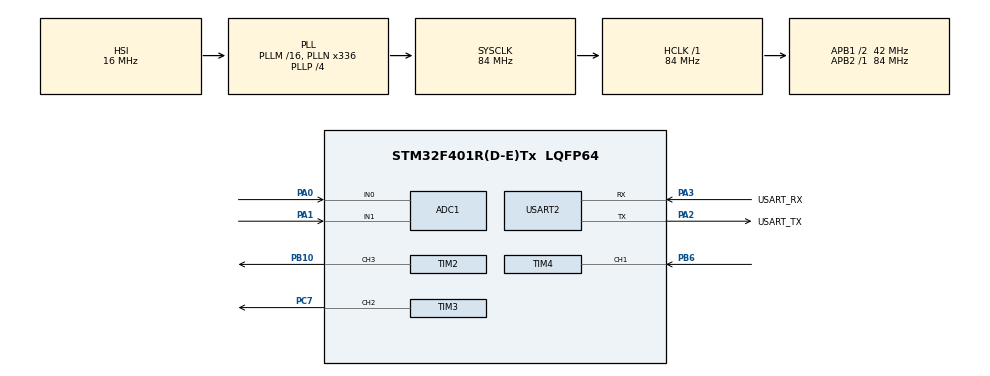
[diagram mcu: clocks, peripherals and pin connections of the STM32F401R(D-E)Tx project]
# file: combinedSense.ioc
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ADC1.Channel-0\#ChannelRegularConversion=ADC_CHANNEL_0
ADC1.Channel-3\#ChannelRegularConversion=ADC_CHANNEL_1
ADC1.ContinuousConvMode=ENABLE
ADC1.DiscontinuousConvMode=DISABLE
ADC1.EOCSelection=ADC_EOC_SINGLE_CONV
ADC1.NbrOfConversion=2
ADC1.NbrOfConversionFlag=1
ADC1.Rank-0\#ChannelRegularConversion=1
ADC1.Rank-3\#ChannelRegularConversion=2
ADC1.SamplingTime-0\#ChannelRegularConversion=ADC_SAMPLETIME_3CYCLES
ADC1.SamplingTime-3\#ChannelRegularConversion=ADC_SAMPLETIME_3CYCLES
ADC1.master=1
Dma.ADC1.0.Direction=DMA_PERIPH_TO_MEMORY
Dma.ADC1.0.FIFOMode=DMA_FIFOMODE_DISABLE
Dma.ADC1.0.Instance=DMA2_Stream0
Dma.ADC1.0.MemDataAlignment=DMA_MDATAALIGN_WORD
Dma.ADC1.0.MemInc=DMA_MINC_ENABLE
Dma.ADC1.0.Mode=DMA_CIRCULAR
Dma.ADC1.0.PeriphDataAlignment=DMA_PDATAALIGN_WORD
Dma.ADC1.0.PeriphInc=DMA_PINC_DISABLE
Dma.ADC1.0.Priority=DMA_PRIORITY_LOW
Dma.Request0=ADC1
Mcu.Family=STM32F4
Mcu.Name=STM32F401R(D-E)Tx
Mcu.Package=LQFP64
NVIC.DMA2_Stream0_IRQn=true\:0\:0\:false\:false\:true\:false\:true
NVIC.PriorityGroup=NVIC_PRIORITYGROUP_0
NVIC.TIM4_IRQn=true\:0\:0\:false\:false\:true\:true\:true
PA0-WKUP.Signal=ADCx_IN0
PA1.Signal=ADCx_IN1
PA2.GPIO_Label=USART_TX
PA2.GPIO_Mode=GPIO_MODE_AF_PP
PA2.GPIO_PuPd=GPIO_NOPULL
PA2.GPIO_Speed=GPIO_SPEED_FREQ_LOW
PA2.Mode=Asynchronous
PA2.Signal=USART2_TX
PA3.GPIO_Label=USART_RX
PA3.GPIO_Mode=GPIO_MODE_AF_PP
PA3.GPIO_PuPd=GPIO_NOPULL
PA3.GPIO_Speed=GPIO_SPEED_FREQ_LOW
PA3.Mode=Asynchronous
PA3.Signal=USART2_RX
PB10.Signal=S_TIM2_CH3
PB6.Signal=S_TIM4_CH1
PC14-OSC32_IN.Mode=LSE-External-Oscillator
PC14-OSC32_IN.Signal=RCC_OSC32_IN
PC15-OSC32_OUT.Mode=LSE-External-Oscillator
PC15-OSC32_OUT.Signal=RCC_OSC32_OUT
PC7.Signal=S_TIM3_CH2
PH0\ -\ OSC_IN.Mode=HSE-External-Clock-Source
PH0\ -\ OSC_IN.Signal=RCC_OSC_IN
PH1\ -\ OSC_OUT.Mode=HSE-External-Clock-Source
PH1\ -\ OSC_OUT.Signal=RCC_OSC_OUT
ProjectManager.HeapSize=0x200
ProjectManager.StackSize=0x400
ProjectManager.TargetToolchain=STM32CubeIDE
RCC.48MHZClocksFreq_Value=48000000
RCC.AHBFreq_Value=84000000
RCC.APB1CLKDivider=RCC_HCLK_DIV2
RCC.APB1Freq_Value=42000000
RCC.APB1TimFreq_Value=84000000
RCC.APB2Freq_Value=84000000
RCC.APB2TimFreq_Value=84000000
RCC.CortexFreq_Value=84000000
RCC.HCLKFreq_Value=84000000
RCC.HSE_VALUE=8000000
RCC.HSI_VALUE=16000000
RCC.PLLN=336
RCC.PLLP=RCC_PLLP_DIV4
RCC.PLLQ=7
RCC.SYSCLKFreq_VALUE=84000000
RCC.SYSCLKSource=RCC_SYSCLKSOURCE_PLLCLK
RCC.VCOOutputFreq_Value=336000000
SH.ADCx_IN0.0=ADC1_IN0,IN0
SH.ADCx_IN1.0=ADC1_IN1,IN1
SH.S_TIM2_CH3.0=TIM2_CH3,PWM Generation3 CH3
SH.S_TIM3_CH2.0=TIM3_CH2,PWM Generation2 CH2
SH.S_TIM4_CH1.0=TIM4_CH1,Input_Capture1_from_TI1
TIM2.Channel-PWM\ Generation3\ CH3=TIM_CHANNEL_3
TIM2.Period=180
TIM2.Prescaler=9333
TIM3.Channel-PWM\ Generation2\ CH2=TIM_CHANNEL_2
TIM3.Period=65535
TIM3.Prescaler=83
TIM4.Channel-Input_Capture1_from_TI1=TIM_CHANNEL_1
TIM4.Period=65535
TIM4.Prescaler=84
USART2.VirtualMode=VM_ASYNC
VP_TIM4_VS_ClockSourceINT.Mode=Internal
board=NUCLEO-F401RE

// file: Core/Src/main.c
/* USER CODE BEGIN Header */
/**
  ******************************************************************************
  * @file           : main.c
  * @brief          : Main program body
  ******************************************************************************
  * @attention
  *
  * <h2><center>&copy; Copyright (c) 2020 STMicroelectronics.
  * All rights reserved.</center></h2>
  *
  * This software component is licensed by ST under BSD 3-Clause license,
  * the "License"; You may not use this file except in compliance with the
  * License. You may obtain a copy of the License at:
  *                        opensource.org/licenses/BSD-3-Clause
  *
  ******************************************************************************
  */
/* USER CODE END Header */

#include "main.h"

/* USER CODE BEGIN Includes */
#include <sys/time.h>
#include <string.h>
#include <stdio.h>
/* USER CODE END Includes */

ADC_HandleTypeDef hadc1;
DMA_HandleTypeDef hdma_adc1;

TIM_HandleTypeDef htim2;
TIM_HandleTypeDef htim3;
TIM_HandleTypeDef htim4;

UART_HandleTypeDef huart2;

/* USER CODE BEGIN PV */
int pwm = 0;
long input_capture1 = 0;
long input_capture2 = 0;
long Difference = 0;
uint8_t Is_First_Captured = 0;
int buf[20];
uint32_t value[2];
/* USER CODE END PV */

void SystemClock_Config(void);
static void MX_GPIO_Init(void);
static void MX_DMA_Init(void);
static void MX_USART2_UART_Init(void);
static void MX_TIM3_Init(void);
static void MX_TIM4_Init(void);
static void MX_ADC1_Init(void);
static void MX_TIM2_Init(void);

/* USER CODE BEGIN 0 */
void HAL_TIM_IC_CaptureCallback(TIM_HandleTypeDef *htim){
	if (htim->Channel == HAL_TIM_ACTIVE_CHANNEL_1)  // if the interrupt source is channel2
		{
			if (Is_First_Captured==0) // if the first value is not captured
			{
				input_capture1 = __HAL_TIM_GetCompare(&htim4, TIM_CHANNEL_1); // read the first value
				Is_First_Captured = 1;  // set the first captured as true
				// Now change the polarity to falling edge
				__HAL_TIM_SET_CAPTUREPOLARITY(&htim4, TIM_CHANNEL_1, TIM_INPUTCHANNELPOLARITY_FALLING);
			}

			else if (Is_First_Captured==1)   // if the first is already captured
			{
				input_capture2 = __HAL_TIM_GetCompare(&htim4, TIM_CHANNEL_1);  // read second value
				__HAL_TIM_SET_COUNTER(&htim4, 0);  // reset the counter

				if (input_capture2 > input_capture1)
				{
					Difference = (input_capture2-input_capture1)/58;
				}

				Is_First_Captured = 0; // set it back to false

				// set polarity to rising edge
				__HAL_TIM_SET_CAPTUREPOLARITY(&htim4, TIM_CHANNEL_1, TIM_INPUTCHANNELPOLARITY_RISING);

			}
		}
}
/* USER CODE END 0 */

int main(void)
{

  /* MCU Configuration--------------------------------------------------------*/

  /* Reset of all peripherals, Initializes the Flash interface and the Systick. */
  HAL_Init();

  /* Configure the system clock */
  SystemClock_Config();

  /* Initialize all configured peripherals */
  MX_GPIO_Init();
  MX_DMA_Init();
  MX_USART2_UART_Init();
  MX_TIM3_Init();
  MX_TIM4_Init();
  MX_ADC1_Init();
  MX_TIM2_Init();
  /* USER CODE BEGIN 2 */
  HAL_TIM_IC_Start_IT(&htim4, TIM_CHANNEL_1);
  HAL_TIM_PWM_Start(&htim3, TIM_CHANNEL_2);
  HAL_TIM_PWM_Start(&htim2, TIM_CHANNEL_3);
  __HAL_TIM_SetCompare(&htim2, TIM_CHANNEL_3, 0);
  HAL_ADC_Start_DMA(&hadc1, value, 2);
  /* USER CODE END 2 */

  /* Infinite loop */
  /* USER CODE BEGIN WHILE */

  float timedifference_msec(struct timeval t0, struct timeval t1)
  	{
	  return (t1.tv_sec - t0.tv_sec) * 1000.0f + (t1.tv_usec - t0.tv_usec) / 1000.0f;
    }

	float temperature = 25;
	uint32_t raw = 0;
	float tdsValue = 0;
	float turbVolt;
  while (1)
  {
	  //////////////////////////Ultrasonic///////////////////////
	  __HAL_TIM_SetCompare(&htim3, TIM_CHANNEL_2, 200);
	  sprintf((char*)buf, "Distance: %u\r\n", (unsigned int)Difference);
	  HAL_UART_Transmit(&huart2, buf, strlen((char*)buf), HAL_MAX_DELAY);
	  HAL_Delay(200);

	  //////////////////////Turbidity//////////////////////////
	  // Test: Set GPIO pin high
	  HAL_GPIO_WritePin(GPIOA, GPIO_PIN_10, GPIO_PIN_SET);

	  // Get ADC value
	  //HAL_ADC_PollForConversion(&hadc1, HAL_MAX_DELAY);
	  //raw = HAL_ADC_GetValue(&hadc1);
	  raw = value[0];
	  turbVolt = (raw * 3.3) / 4096.0;
	  // Test: Set GPIO pin low
	  HAL_GPIO_WritePin(GPIOA, GPIO_PIN_10, GPIO_PIN_RESET);

	  // Convert to string and print
	  sprintf((char*)buf, "Turbidity: %hu \r\n", raw);
	  HAL_UART_Transmit(&huart2, (uint8_t*)buf, strlen(buf), HAL_MAX_DELAY);

	  // Pretend we have to do something else for a while
	  HAL_Delay(200);

	  ///////////////TDS/////////////////////////////////
	  // Test: Set GPIO pin high
	  HAL_GPIO_WritePin(GPIOA, GPIO_PIN_10, GPIO_PIN_SET);

	  // Get ADC value
	  //HAL_ADC_Start(&hadc1);
	  //HAL_ADC_PollForConversion(&hadc1, HAL_MAX_DELAY);
	  //raw = HAL_ADC_GetValue(&hadc1);
	  raw = value[1];
	  tdsValue = (raw * 3.3) / 4096.0;

	  // Test: Set GPIO pin low
	  HAL_GPIO_WritePin(GPIOA, GPIO_PIN_10, GPIO_PIN_RESET);

	  float compensationCoefficient=1.0+0.02*(temperature-25.0);
	  float compensationVoltage= tdsValue / 1; //compensationCoefficient;
	  tdsValue = (133.42*compensationVoltage*compensationVoltage*compensationVoltage - 255.86*compensationVoltage*compensationVoltage + 857.39*compensationVoltage)*0.5;

	  // Convert to string and print
	  sprintf((char*)buf, "TDS: %hu \r\n", (uint32_t)tdsValue);
	  HAL_UART_Transmit(&huart2, (uint8_t*)buf, strlen(buf), HAL_MAX_DELAY);

	  // Pretend we have to do something else for a while
	  HAL_Delay(100);

	  ////////Servo/////////////
	  /*
	  for(pwm=4;pwm<23;pwm++) {
		  __HAL_TIM_SetCompare(&htim2, TIM_CHANNEL_3, pwm);
		  sprintf((char*)buf, "%u pwm\r\n", (unsigned int)pwm);
		  HAL_UART_Transmit(&huart2, buf, strlen((char*)buf), HAL_MAX_DELAY);
		  HAL_Delay(100);
	  }
	  HAL_Delay(200);
	  for(pwm=22;pwm>=4;pwm--) {
		  __HAL_TIM_SetCompare(&htim2, TIM_CHANNEL_3, pwm);
		  sprintf((char*)buf, "%u pwm\r\n", (unsigned int)pwm);
		  HAL_UART_Transmit(&huart2, buf, strlen((char*)buf), HAL_MAX_DELAY);
		  HAL_Delay(100);
	  }
	  HAL_Delay(200);
	  */
    /* USER CODE END WHILE */

  }
}

void SystemClock_Config(void)
{
  RCC_OscInitTypeDef RCC_OscInitStruct = {0};
  RCC_ClkInitTypeDef RCC_ClkInitStruct = {0};

  /** Configure the main internal regulator output voltage
  */
  __HAL_RCC_PWR_CLK_ENABLE();
  __HAL_PWR_VOLTAGESCALING_CONFIG(PWR_REGULATOR_VOLTAGE_SCALE2);
  /** Initializes the CPU, AHB and APB busses clocks
  */
  RCC_OscInitStruct.OscillatorType = RCC_OSCILLATORTYPE_HSI;
  RCC_OscInitStruct.HSIState = RCC_HSI_ON;
  RCC_OscInitStruct.HSICalibrationValue = RCC_HSICALIBRATION_DEFAULT;
  RCC_OscInitStruct.PLL.PLLState = RCC_PLL_ON;
  RCC_OscInitStruct.PLL.PLLSource = RCC_PLLSOURCE_HSI;
  RCC_OscInitStruct.PLL.PLLM = 16;
  RCC_OscInitStruct.PLL.PLLN = 336;
  RCC_OscInitStruct.PLL.PLLP = RCC_PLLP_DIV4;
  RCC_OscInitStruct.PLL.PLLQ = 7;
  if (HAL_RCC_OscConfig(&RCC_OscInitStruct) != HAL_OK)
  {
    Error_Handler();
  }
  /** Initializes the CPU, AHB and APB busses clocks
  */
  RCC_ClkInitStruct.ClockType = RCC_CLOCKTYPE_HCLK|RCC_CLOCKTYPE_SYSCLK
                              |RCC_CLOCKTYPE_PCLK1|RCC_CLOCKTYPE_PCLK2;
  RCC_ClkInitStruct.SYSCLKSource = RCC_SYSCLKSOURCE_PLLCLK;
  RCC_ClkInitStruct.AHBCLKDivider = RCC_SYSCLK_DIV1;
  RCC_ClkInitStruct.APB1CLKDivider = RCC_HCLK_DIV2;
  RCC_ClkInitStruct.APB2CLKDivider = RCC_HCLK_DIV1;

  if (HAL_RCC_ClockConfig(&RCC_ClkInitStruct, FLASH_LATENCY_2) != HAL_OK)
  {
    Error_Handler();
  }
}

static void MX_ADC1_Init(void)
{

  ADC_ChannelConfTypeDef sConfig = {0};

  /** Configure the global features of the ADC (Clock, Resolution, Data Alignment and number of conversion)
  */
  hadc1.Instance = ADC1;
  hadc1.Init.ClockPrescaler = ADC_CLOCK_SYNC_PCLK_DIV4;
  hadc1.Init.Resolution = ADC_RESOLUTION_12B;
  hadc1.Init.ScanConvMode = ENABLE;
  hadc1.Init.ContinuousConvMode = ENABLE;
  hadc1.Init.DiscontinuousConvMode = DISABLE;
  hadc1.Init.ExternalTrigConvEdge = ADC_EXTERNALTRIGCONVEDGE_NONE;
  hadc1.Init.ExternalTrigConv = ADC_SOFTWARE_START;
  hadc1.Init.DataAlign = ADC_DATAALIGN_RIGHT;
  hadc1.Init.NbrOfConversion = 2;
  hadc1.Init.DMAContinuousRequests = DISABLE;
  hadc1.Init.EOCSelection = ADC_EOC_SINGLE_CONV;
  if (HAL_ADC_Init(&hadc1) != HAL_OK)
  {
    Error_Handler();
  }
  /** Configure for the selected ADC regular channel its corresponding rank in the sequencer and its sample time.
  */
  sConfig.Channel = ADC_CHANNEL_0;
  sConfig.Rank = 1;
  sConfig.SamplingTime = ADC_SAMPLETIME_3CYCLES;
  if (HAL_ADC_ConfigChannel(&hadc1, &sConfig) != HAL_OK)
  {
    Error_Handler();
  }
  /** Configure for the selected ADC regular channel its corresponding rank in the sequencer and its sample time.
  */
  sConfig.Channel = ADC_CHANNEL_1;
  sConfig.Rank = 2;
  if (HAL_ADC_ConfigChannel(&hadc1, &sConfig) != HAL_OK)
  {
    Error_Handler();
  }

}

static void MX_TIM2_Init(void)
{

  TIM_MasterConfigTypeDef sMasterConfig = {0};
  TIM_OC_InitTypeDef sConfigOC = {0};

  htim2.Instance = TIM2;
  htim2.Init.Prescaler = 9333;
  htim2.Init.CounterMode = TIM_COUNTERMODE_UP;
  htim2.Init.Period = 180;
  htim2.Init.ClockDivision = TIM_CLOCKDIVISION_DIV1;
  htim2.Init.AutoReloadPreload = TIM_AUTORELOAD_PRELOAD_DISABLE;
  if (HAL_TIM_PWM_Init(&htim2) != HAL_OK)
  {
    Error_Handler();
  }
  sMasterConfig.MasterOutputTrigger = TIM_TRGO_RESET;
  sMasterConfig.MasterSlaveMode = TIM_MASTERSLAVEMODE_DISABLE;
  if (HAL_TIMEx_MasterConfigSynchronization(&htim2, &sMasterConfig) != HAL_OK)
  {
    Error_Handler();
  }
  sConfigOC.OCMode = TIM_OCMODE_PWM1;
  sConfigOC.Pulse = 0;
  sConfigOC.OCPolarity = TIM_OCPOLARITY_HIGH;
  sConfigOC.OCFastMode = TIM_OCFAST_DISABLE;
  if (HAL_TIM_PWM_ConfigChannel(&htim2, &sConfigOC, TIM_CHANNEL_3) != HAL_OK)
  {
    Error_Handler();
  }
  HAL_TIM_MspPostInit(&htim2);

}

static void MX_TIM3_Init(void)
{

  TIM_MasterConfigTypeDef sMasterConfig = {0};
  TIM_OC_InitTypeDef sConfigOC = {0};

  htim3.Instance = TIM3;
  htim3.Init.Prescaler = 83;
  htim3.Init.CounterMode = TIM_COUNTERMODE_UP;
  htim3.Init.Period = 65535;
  htim3.Init.ClockDivision = TIM_CLOCKDIVISION_DIV1;
  htim3.Init.AutoReloadPreload = TIM_AUTORELOAD_PRELOAD_DISABLE;
  if (HAL_TIM_PWM_Init(&htim3) != HAL_OK)
  {
    Error_Handler();
  }
  sMasterConfig.MasterOutputTrigger = TIM_TRGO_RESET;
  sMasterConfig.MasterSlaveMode = TIM_MASTERSLAVEMODE_DISABLE;
  if (HAL_TIMEx_MasterConfigSynchronization(&htim3, &sMasterConfig) != HAL_OK)
  {
    Error_Handler();
  }
  sConfigOC.OCMode = TIM_OCMODE_PWM1;
  sConfigOC.Pulse = 0;
  sConfigOC.OCPolarity = TIM_OCPOLARITY_HIGH;
  sConfigOC.OCFastMode = TIM_OCFAST_DISABLE;
  if (HAL_TIM_PWM_ConfigChannel(&htim3, &sConfigOC, TIM_CHANNEL_2) != HAL_OK)
  {
    Error_Handler();
  }
  HAL_TIM_MspPostInit(&htim3);

}

static void MX_TIM4_Init(void)
{

  TIM_ClockConfigTypeDef sClockSourceConfig = {0};
  TIM_MasterConfigTypeDef sMasterConfig = {0};
  TIM_IC_InitTypeDef sConfigIC = {0};

  htim4.Instance = TIM4;
  htim4.Init.Prescaler = 84;
  htim4.Init.CounterMode = TIM_COUNTERMODE_UP;
  htim4.Init.Period = 65535;
  htim4.Init.ClockDivision = TIM_CLOCKDIVISION_DIV1;
  htim4.Init.AutoReloadPreload = TIM_AUTORELOAD_PRELOAD_DISABLE;
  if (HAL_TIM_Base_Init(&htim4) != HAL_OK)
  {
    Error_Handler();
  }
  sClockSourceConfig.ClockSource = TIM_CLOCKSOURCE_INTERNAL;
  if (HAL_TIM_ConfigClockSource(&htim4, &sClockSourceConfig) != HAL_OK)
  {
    Error_Handler();
  }
  if (HAL_TIM_IC_Init(&htim4) != HAL_OK)
  {
    Error_Handler();
  }
  sMasterConfig.MasterOutputTrigger = TIM_TRGO_RESET;
  sMasterConfig.MasterSlaveMode = TIM_MASTERSLAVEMODE_DISABLE;
  if (HAL_TIMEx_MasterConfigSynchronization(&htim4, &sMasterConfig) != HAL_OK)
  {
    Error_Handler();
  }
  sConfigIC.ICPolarity = TIM_INPUTCHANNELPOLARITY_RISING;
  sConfigIC.ICSelection = TIM_ICSELECTION_DIRECTTI;
  sConfigIC.ICPrescaler = TIM_ICPSC_DIV1;
  sConfigIC.ICFilter = 0;
  if (HAL_TIM_IC_ConfigChannel(&htim4, &sConfigIC, TIM_CHANNEL_1) != HAL_OK)
  {
    Error_Handler();
  }

}

static void MX_USART2_UART_Init(void)
{

  huart2.Instance = USART2;
  huart2.Init.BaudRate = 115200;
  huart2.Init.WordLength = UART_WORDLENGTH_8B;
  huart2.Init.StopBits = UART_STOPBITS_1;
  huart2.Init.Parity = UART_PARITY_NONE;
  huart2.Init.Mode = UART_MODE_TX_RX;
  huart2.Init.HwFlowCtl = UART_HWCONTROL_NONE;
  huart2.Init.OverSampling = UART_OVERSAMPLING_16;
  if (HAL_UART_Init(&huart2) != HAL_OK)
  {
    Error_Handler();
  }

}

static void MX_DMA_Init(void)
{

  /* DMA controller clock enable */
  __HAL_RCC_DMA2_CLK_ENABLE();

  /* DMA interrupt init */
  /* DMA2_Stream0_IRQn interrupt configuration */
  HAL_NVIC_SetPriority(DMA2_Stream0_IRQn, 0, 0);
  HAL_NVIC_EnableIRQ(DMA2_Stream0_IRQn);

}

static void MX_GPIO_Init(void)
{

  /* GPIO Ports Clock Enable */
  __HAL_RCC_GPIOC_CLK_ENABLE();
  __HAL_RCC_GPIOH_CLK_ENABLE();
  __HAL_RCC_GPIOA_CLK_ENABLE();
  __HAL_RCC_GPIOB_CLK_ENABLE();

}

void Error_Handler(void)
{
}

/************************ (C) COPYRIGHT STMicroelectronics *****END OF FILE****/
